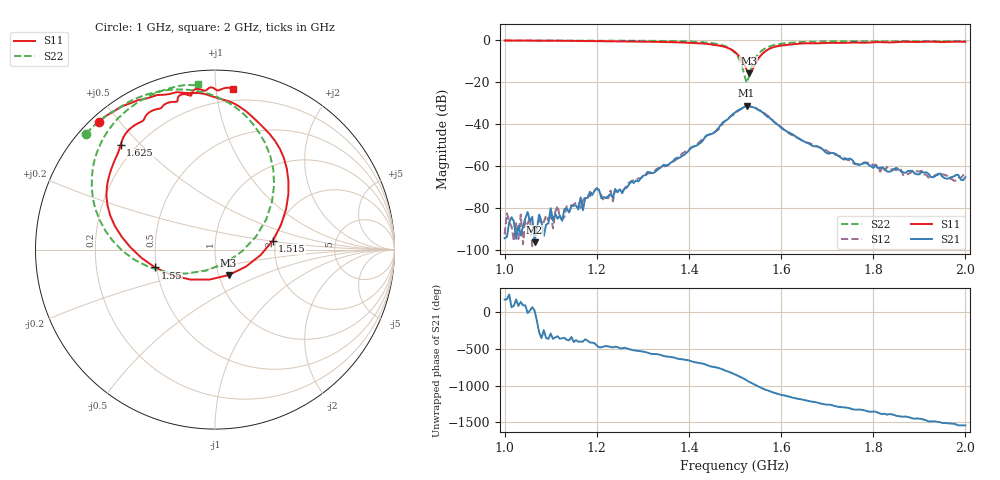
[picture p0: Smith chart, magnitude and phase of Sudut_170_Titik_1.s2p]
# Hz S RI R 50
! CMT, C1220, 16058040, 17.2.0/1
! Date: 14/08/2018 12:56:26
! Data: Format (Calibration Info)
! Freq  S11: Re/Im (F2)  S21: Re/Im (F2)  S12: Re/Im (F2)  S22: Re/Im (F2)
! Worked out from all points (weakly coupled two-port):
!   201 points, 1 GHz to 2 GHz, reference 50 ohm
!   highest |S21| = -31.40 dB at 1.525 GHz (marker M1); lowest = -96.6 dB at 1.065 GHz (marker M2)
!   lowest |S11| = -15.9 dB at 1.53 GHz (marker M3), VSWR 1.38, Z = 55.7 - j16.2 ohm
!   |S11| at or under -10 dB: 1.516 GHz to 1.548 GHz (32.24 MHz wide, 2.11 % of centre)
!   |S22| runs from -20.5 to -0.3 dB; largest |S21 - S12| = 0.0011
!   S11 on the Smith chart (normalised r, x): 1 GHz: 0.02, +0.44; 1.515 GHz: 1.93, +0.21; 1.55 GHz: 0.49, -0.11; 1.625 GHz: 0.14, +0.44; 2 GHz: 0.12, +1.11
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1e9  -0.6468 0.7134  -1.85e-05 1.21e-06  -3.27e-06 2.27e-05  -0.719 0.6457
1.065e9  -0.5743 0.7639  1.33e-05 6.58e-06  -7.51e-06 2.13e-05  -0.6715 0.6923
1.16e9  -0.4694 0.8162  6.83e-05 -5.83e-05  0.000128 -4.88e-05  -0.5874 0.759
1.165e9  -0.4635 0.8186  0.000135 -0.000113  8.5e-05 -4.68e-05  -0.5822 0.7626
1.17e9  -0.457 0.8215  6.81e-05 -5.34e-05  0.00011 -9.99e-05  -0.5766 0.7656
1.2e9  -0.4121 0.8357  -5.24e-06 -0.000291  -2.5e-05 -0.000285  -0.5429 0.7777
1.215e9  -0.3913 0.8395  -4.76e-05 -0.000172  -4.99e-05 -0.000138  -0.5351 0.7859
1.23e9  -0.3663 0.8465  -7.15e-05 -0.000197  -0.000121 -0.000224  -0.5195 0.8001
1.235e9  -0.3578 0.8494  -7.88e-05 -0.00015  -2.32e-05 -0.000139  -0.5136 0.804
1.24e9  -0.3494 0.8524  -8.79e-05 -0.000263  -0.000137 -0.000218  -0.5076 0.8077
1.335e9  -0.1791 0.874  -0.000697 0.000471  -0.000638 0.000602  -0.3598 0.8699
1.45e9  0.2008 0.7464  0.00533 -0.00203  0.00533 -0.00237  0.047 0.8335
1.5e9  0.4088 0.3065  -0.011 -0.0148  -0.0103 -0.0139  0.3294 0.3603
1.515e9  0.3204 0.0483  -0.0228 -0.00344  -0.0229 -0.00405  0.2285 0.0725
1.525e9  0.1714 -0.0954  -0.0241 0.012  -0.0243 0.012  0.0579 -0.0746
1.53e9  0.0755 -0.142  -0.0181 0.019  -0.0183 0.0192  -0.0506 -0.1172
1.55e9  -0.334 -0.0996  0.00787 0.0202  0.007 0.0204  -0.4486 -0.0568
1.58e9  -0.5993 0.2472  0.0122 -0.00173  0.0126 -0.00226  -0.676 0.2647
1.625e9  -0.5264 0.5809  0.000572 -0.00553  0.000722 -0.00528  -0.6497 0.5618
1.67e9  -0.4096 0.713  -0.00227 -0.00182  -0.00244 -0.00194  -0.5665 0.7014
1.835e9  -0.135 0.8571  0.00045 0.000555  0.000597 0.000544  -0.3149 0.878
2e9  0.0992 0.8933  -0.000126 -0.000516  -0.000165 -0.000577  -0.0974 0.9223
